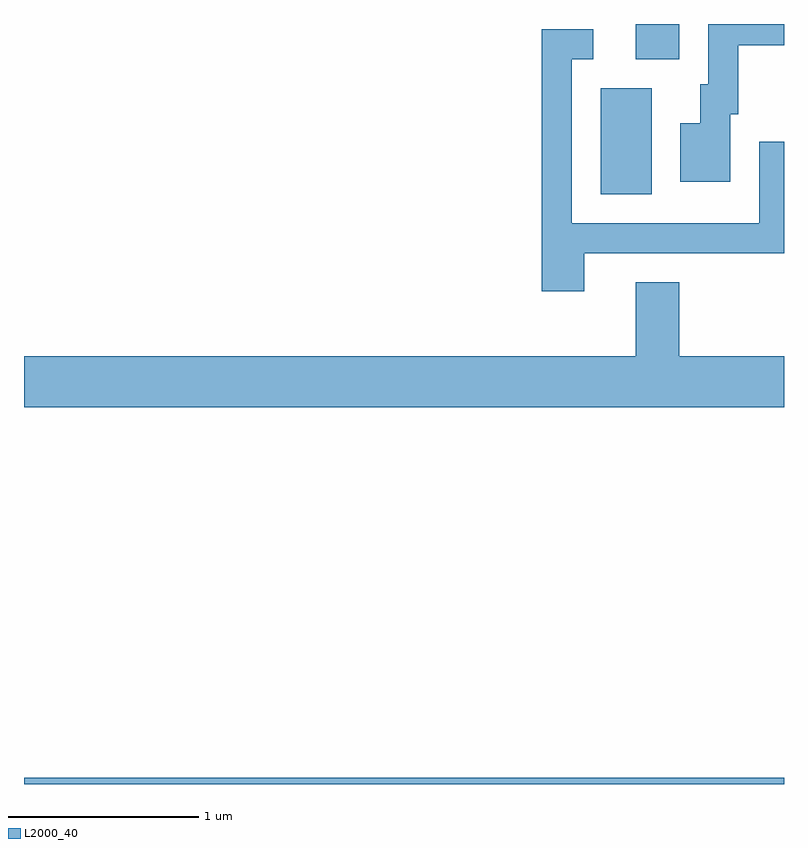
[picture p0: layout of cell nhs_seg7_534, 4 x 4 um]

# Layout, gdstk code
import gdstk
lib = gdstk.Library(unit=1e-6, precision=1e-09)
def R(c, l, rs):  # rectangles x0, y0, x1, y1
    for r in rs: c.add(gdstk.rectangle(r[:2], r[2:], *l))
def P(c, l, *ps):  # polygons
    for p in ps: c.add(gdstk.Polygon(p, *l))
L2000_40 = (2000, 40)

nhs_seg7_534 = lib.new_cell('nhs_seg7_534')
R(nhs_seg7_534, L2000_40, [(199.611,1792.252,203.611,1792.284), (202.646,1795.356,202.914,1795.914), (202.831,1796.066,203.059,1796.252)])
P(nhs_seg7_534, L2000_40, [(203.329,1795.776),(203.369,1795.776),(203.369,1796.141),(203.611,1796.141),(203.611,1796.252),(203.211,1796.252),(203.211,1795.934),(203.171,1795.934),(203.171,1795.729),(203.066,1795.729),(203.066,1795.421),(203.329,1795.421)],
  [(202.559,1795.046),(203.611,1795.046),(203.611,1795.633),(203.481,1795.633),(203.481,1795.204),(202.494,1795.204),(202.494,1796.066),(202.608,1796.066),(202.608,1796.224),(202.336,1796.224),(202.336,1794.846),(202.559,1794.846)],
  [(203.611,1794.504),(203.059,1794.504),(203.059,1794.894),(202.831,1794.894),(202.831,1794.504),(199.611,1794.504),(199.611,1794.236),(203.611,1794.236)])

lib.write_gds('nhs_seg7_534.gds')
